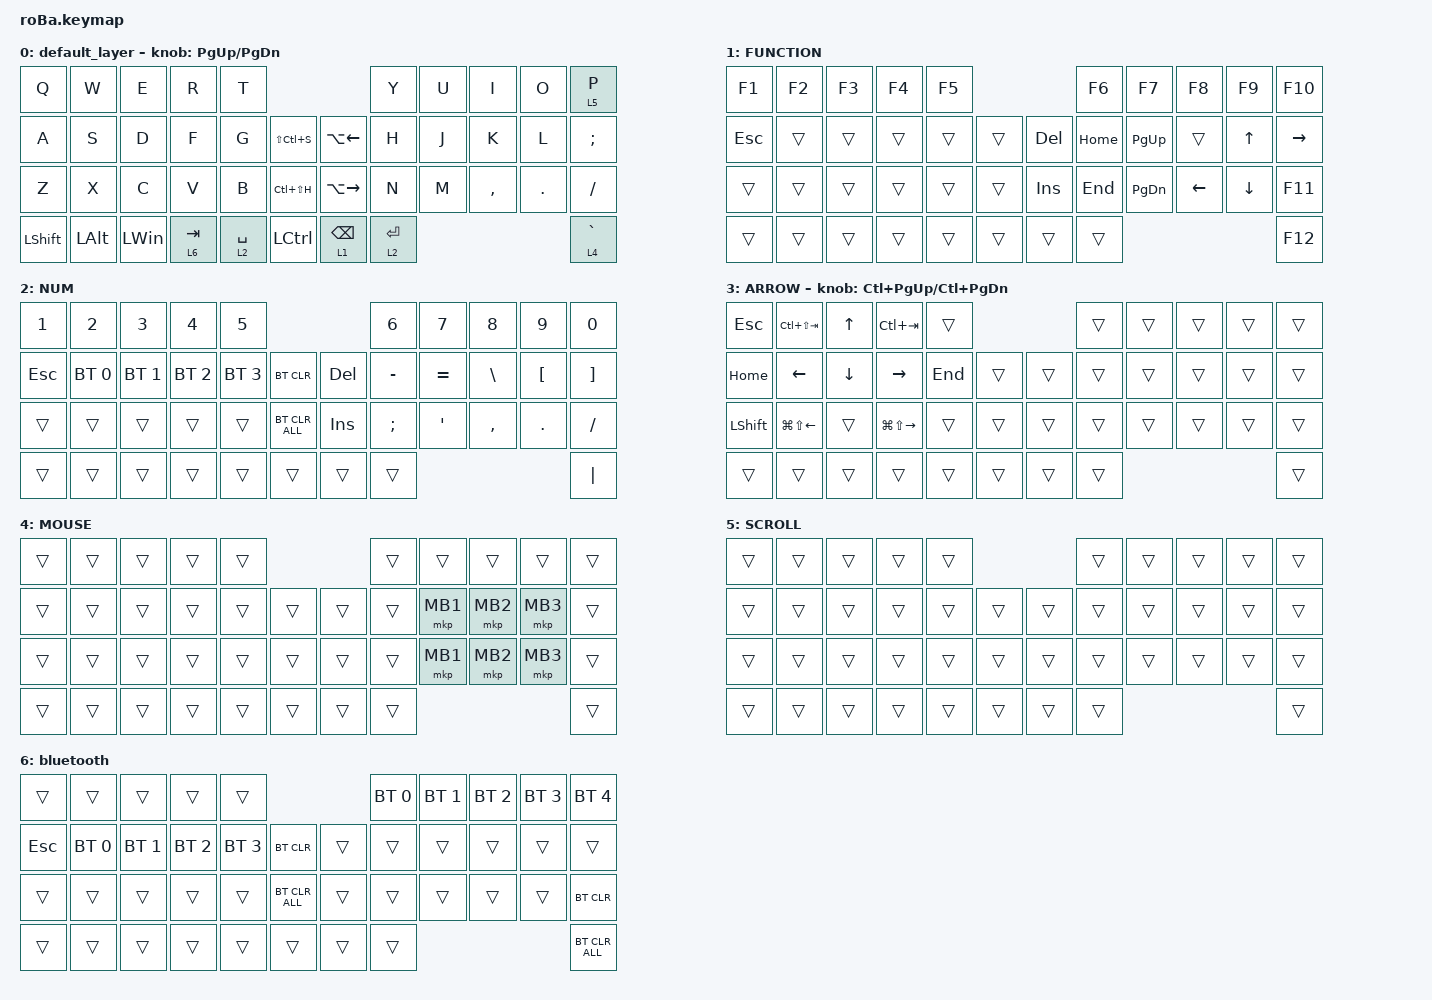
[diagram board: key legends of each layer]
#include <behaviors.dtsi>
#include <dt-bindings/zmk/bt.h>
#include <dt-bindings/zmk/keys.h>
#include <dt-bindings/zmk/pointing.h>

#define MOUSE 4
#define SCROLL 5
#define NUM 6

&mt {
    flavor = "balanced";
    quick-tap-ms = <0>;
};

/ {
    combos {
        compatible = "zmk,combos";

        tab {
            bindings = <&kp TAB>;
            key-positions = <11 12>;
        };

        shift_tab {
            bindings = <&kp LS(TAB)>;
            key-positions = <12 13>;
        };

        muhennkann {
            bindings = <&to_layer_0 INT_MUHENKAN>;
            key-positions = <11 10>;
        };

        double_quotation {
            bindings = <&kp DOUBLE_QUOTES>;
            key-positions = <20 21>;
        };

        eq {
            bindings = <&kp EQUAL>;
            key-positions = <24 25>;
        };
    };

    macros {
        to_layer_0: to_layer_0 {
            compatible = "zmk,behavior-macro-one-param";
            #binding-cells = <1>;
            bindings = <&to 0 &macro_param_1to1 &kp MACRO_PLACEHOLDER>;
            label = "TO_LAYER_0";
        };
    };

    behaviors {
        lt_to_layer_0: lt_to_layer_0 {
            compatible = "zmk,behavior-hold-tap";
            label = "LAYER_TAP_TO_0";
            bindings = <&mo>, <&to_layer_0>;

            #binding-cells = <2>;
            tapping-term-ms = <200>;
        };
    };

    keymap {
        compatible = "zmk,keymap";

        default_layer {
            bindings = <
&kp Q           &kp W     &kp E         &kp R      &kp T                                            &kp Y        &kp U  &kp I      &kp O    &lt 5 P
&kp A           &kp S     &kp D         &kp F      &kp G        &kp LS(LC(S))      &kp LA(LEFT)     &kp H        &kp J  &kp K      &kp L    &kp SEMICOLON
&kp Z           &kp X     &kp C         &kp V      &kp B        &kp LC(LS(H))      &kp LA(RIGHT)    &kp N        &kp M  &kp COMMA  &kp DOT  &kp SLASH
&kp LEFT_SHIFT  &kp LALT  &kp LEFT_WIN  &lt 6 TAB  &lt 2 SPACE  &kp LCTRL          &lt 1 BACKSPACE  &lt 2 ENTER                             &lt 4 GRAVE
            >;

            sensor-bindings = <&inc_dec_kp PG_UP PAGE_DOWN>;
        };

        FUNCTION {
            bindings = <
&kp F1      &kp F2  &kp F3  &kp F4  &kp F5                       &kp F6    &kp F7         &kp F8    &kp F9          &kp F10
&kp ESCAPE  &trans  &trans  &trans  &trans  &trans      &kp DEL  &kp HOME  &kp PAGE_UP    &trans    &kp UP_ARROW    &kp RIGHT_ARROW
&trans      &trans  &trans  &trans  &trans  &trans      &kp INS  &kp END   &kp PAGE_DOWN  &kp LEFT  &kp DOWN_ARROW  &kp F11
&trans      &trans  &trans  &trans  &trans  &trans      &trans   &trans                                             &kp F12
            >;
        };

        NUM {
            bindings = <
&kp NUMBER_1  &kp NUMBER_2  &kp NUMBER_3  &kp NUMBER_4  &kp N5                                        &kp NUMBER_6   &kp N7     &kp N8         &kp N9            &kp N0
&kp ESCAPE    &bt BT_SEL 0  &bt BT_SEL 1  &bt BT_SEL 2  &bt BT_SEL 3  &bt BT_CLR          &kp DELETE  &kp MINUS      &kp EQUAL  &kp BACKSLASH  &kp LEFT_BRACKET  &kp RIGHT_BRACKET
&trans        &trans        &trans        &trans        &trans        &bt BT_CLR_ALL      &kp INS     &kp SEMICOLON  &kp SQT    &kp COMMA      &kp PERIOD        &kp SLASH
&trans        &trans        &trans        &trans        &trans        &trans              &trans      &trans                                                     &kp PIPE
            >;
        };

        ARROW {
            bindings = <
&kp ESCAPE      &kp LC(LS(TAB))         &kp UP_ARROW    &kp LC(TAB)              &trans                       &trans  &trans  &trans  &trans  &trans
&kp HOME        &kp LEFT_ARROW          &kp DOWN_ARROW  &kp RIGHT_ARROW          &kp END  &trans      &trans  &trans  &trans  &trans  &trans  &trans
&kp LEFT_SHIFT  &kp LG(LS(LEFT_ARROW))  &trans          &kp LG(LS(RIGHT_ARROW))  &trans   &trans      &trans  &trans  &trans  &trans  &trans  &trans
&trans          &trans                  &trans          &trans                   &trans   &trans      &trans  &trans                          &trans
            >;

            sensor-bindings = <&inc_dec_kp LC(PAGE_UP) LC(PAGE_DOWN)>;
        };

        MOUSE {
            bindings = <
&trans  &trans  &trans  &trans  &trans                      &trans  &trans    &trans    &trans    &trans
&trans  &trans  &trans  &trans  &trans  &trans      &trans  &trans  &mkp MB1  &mkp MB2  &mkp MB3  &trans
&trans  &trans  &trans  &trans  &trans  &trans      &trans  &trans  &mkp MB1  &mkp MB2  &mkp MB3  &trans
&trans  &trans  &trans  &trans  &trans  &trans      &trans  &trans                                &trans
            >;
        };

        SCROLL {
            bindings = <
&trans  &trans  &trans  &trans  &trans                      &trans  &trans  &trans  &trans  &trans
&trans  &trans  &trans  &trans  &trans  &trans      &trans  &trans  &trans  &trans  &trans  &trans
&trans  &trans  &trans  &trans  &trans  &trans      &trans  &trans  &trans  &trans  &trans  &trans
&trans  &trans  &trans  &trans  &trans  &trans      &trans  &trans                          &trans
            >;
        };

        bluetooth {
            bindings = <
&trans      &trans        &trans        &trans        &trans                                    &bt BT_SEL 0  &bt BT_SEL 1  &bt BT_SEL 2  &bt BT_SEL 3  &bt BT_SEL 4
&kp ESCAPE  &bt BT_SEL 0  &bt BT_SEL 1  &bt BT_SEL 2  &bt BT_SEL 3  &bt BT_CLR          &trans  &trans        &trans        &trans        &trans        &trans
&trans      &trans        &trans        &trans        &trans        &bt BT_CLR_ALL      &trans  &trans        &trans        &trans        &trans        &bt BT_CLR
&trans      &trans        &trans        &trans        &trans        &trans              &trans  &trans                                                  &bt BT_CLR_ALL
            >;
        };
    };
};
